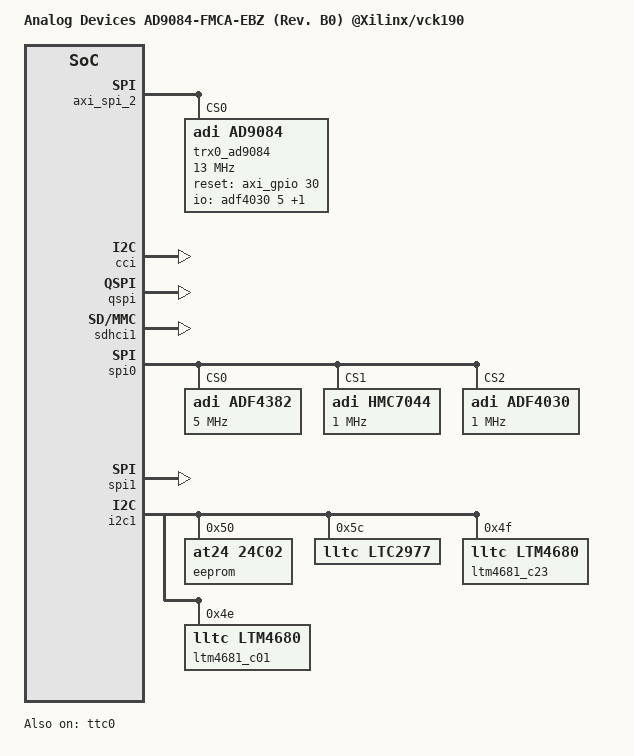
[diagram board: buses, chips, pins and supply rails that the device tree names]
/dts-v1/;
/* hdl: */

#include "versal-vck190-rev1.1.dts"
#include <dt-bindings/iio/adc/adi,ad9088.h>
#include <dt-bindings/interrupt-controller/irq.h>
#include <dt-bindings/jesd204/adxcvr.h>

#define fmc_spi spi0

#ifndef DEVICE_PROFILE_NAME
#define DEVICE_PROFILE_NAME	"id00_uc93.bin"
#endif

#define HSCI_SPEED 800

/* RX path */
#define AD9084_RX_LANERATE_KHZ	20625000
#define AD9084_RX_LINK_CLK	312500000

/* TX path */
#define AD9084_TX_LANERATE_KHZ	20625000
#define AD9084_TX_LINK_CLK	312500000

#ifndef SYSREF_CLK_MHz
#define SYSREF_CLK_MHz		(9765625)
#endif

/ {
	clocks {
		clkin_125: clock@0 {
			#clock-cells = <0>;
			compatible = "fixed-clock";
			clock-frequency = <125000000>;
			clock-output-names = "clkin_125";
		};
	};
};

&gic {
	num_cpus = <2>;
	num_interrupts = <96>;
};

&lpd_dma_chan0 {
	status = "okay";
};

&lpd_dma_chan1 {
	status = "okay";
};

&lpd_dma_chan2 {
	status = "okay";
};

&lpd_dma_chan3 {
	status = "okay";
};

&lpd_dma_chan4 {
	status = "okay";
};

&lpd_dma_chan5 {
	status = "okay";
};

&lpd_dma_chan6 {
	status = "okay";
};

&lpd_dma_chan7 {
	status = "okay";
};

&cci {
	status = "okay";
};

&smmu {
	status = "okay";
};

&gpio1 {
	status = "okay";
};

&qspi {
	is-dual = <1>;
	num-cs = <1>;
	spi-rx-bus-width = <4>;
	spi-tx-bus-width = <4>;
	status = "okay";
};

&sdhci1 {
	clock-frequency = <199999985>;
	status = "okay";
};

&serial0 {
	cts-override ;
	device_type = "serial";
	port-number = <0>;
};

&spi0 {
	is-decoded-cs = <0>;
	num-cs = <3>;
	status = "okay";
};

&spi1 {
	is-decoded-cs = <0>;
	num-cs = <3>;
	status = "okay";
};

&ttc0 {
	status = "okay";
};

&ref_clk {
	clock-frequency = <33333333>;
};

&gem0 {
	local-mac-address = [00 0a 35 ad 90 81];
};

&i2c1 {
	eeprom@50 {
		compatible = "at24,24c02";
		reg = <0x50>;
	};
	ltc2977@5c {
		compatible = "lltc,ltc2977";
		reg = <0x5C>;
	};
	ltm4681_c23@4f {
		compatible = "lltc,ltm4680";
		reg = <0x4F>;
	};
	ltm4681_c01@4e {
		compatible = "lltc,ltm4680";
		reg = <0x4E>;
	};
};

/ {
	model = "Analog Devices AD9084-FMCA-EBZ (Rev. B0) @Xilinx/vck190";

	chosen {
		bootargs = "console=ttyAMA0 earlycon=pl011,mmio32,0xFF000000,115200n8 clk_ignore_unused root=/dev/mmcblk0p2 rw rootfstype=ext4 rootwait";
		stdout-path = "serial0:115200";
	};

	fpga_axi: fpga-axi@0 {
		interrupt-parent = <&gic>;
		compatible = "simple-bus";
		#address-cells = <0x1>;
		#size-cells = <0x1>;
		ranges = <0 0 0 0xffffffff>;

		clocks {
			rx_fixed_linerate: clock@1 {
				#clock-cells = <0>;
				compatible = "fixed-clock";
				clock-frequency = <AD9084_RX_LANERATE_KHZ>;
				clock-output-names = "rx_lane_clk";
			};

			tx_fixed_linerate: clock@2 {
				#clock-cells = <0>;
				compatible = "fixed-clock";
				clock-frequency = <AD9084_TX_LANERATE_KHZ>;
				clock-output-names = "tx_lane_clk";
			};

			rx_fixed_link_clk: clock@3 {
				#clock-cells = <0>;
				compatible = "fixed-clock";
				clock-frequency = <AD9084_RX_LINK_CLK>;
				clock-output-names = "rx_link_clk";
			};

			tx_fixed_link_clk: clock@4 {
				#clock-cells = <0>;
				compatible = "fixed-clock";
				clock-frequency = <AD9084_TX_LINK_CLK>;
				clock-output-names = "tx_link_clk";
			};
		};

		axi_gpio: gpio@a4000000 {
			#gpio-cells = <2>;
			#interrupt-cells = <2>;
			clock-names = "s_axi_aclk";
			clocks = <&versal_clk PMC_PL0_REF>;
			compatible = "xlnx,axi-gpio-2.0", "xlnx,xps-gpio-1.00.a";
			gpio-controller;
			interrupt-controller;
			interrupt-names = "ip2intc_irpt";
			interrupt-parent = <&gic>;
			interrupts = <0 84 4>;
			reg = <0xa4000000 0x1000>;
			xlnx,all-inputs = <0x0>;
			xlnx,all-inputs-2 = <0x0>;
			xlnx,all-outputs = <0x0>;
			xlnx,all-outputs-2 = <0x0>;
			xlnx,dout-default = <0x00000000>;
			xlnx,dout-default-2 = <0x00000000>;
			xlnx,gpio-width = <0x20>;
			xlnx,gpio2-width = <0x20>;
			xlnx,interrupt-present = <0x1>;
			xlnx,is-dual = <0x1>;
			xlnx,tri-default = <0xFFFFFFFF>;
			xlnx,tri-default-2 = <0xFFFFFFFF>;
		};

		rx_dma: dma@bc420000 {
			compatible = "adi,axi-dmac-1.00.a";
			reg = <0xbc420000 0x10000>;
			#dma-cells = <1>;
			#clock-cells = <0>;
			interrupts = <0 97 IRQ_TYPE_LEVEL_HIGH>;
			clocks = <&versal_clk PMC_PL1_REF>;

			adi,channels {
				#size-cells = <0>;
				#address-cells = <1>;

				dma-channel@0 {
					reg = <0>;
					adi,source-bus-type = <2>;
					adi,destination-bus-type = <0>;
				};
			};
		};

		tx_dma: dma@bc430000  {
			compatible = "adi,axi-dmac-1.00.a";
			reg = <0xbc430000 0x10000>;
			#dma-cells = <1>;
			#clock-cells = <0>;
			interrupts = <0 96 IRQ_TYPE_LEVEL_HIGH>;
			clocks = <&versal_clk PMC_PL1_REF>;

			adi,channels {
				#size-cells = <0>;
				#address-cells = <1>;

				dma-channel@0 {
					reg = <0>;
					adi,source-bus-type = <0>;
					adi,destination-bus-type = <2>;
				};
			};
		};

		axi_data_offload_tx: axi-data-offload-0@bc440000 {
			compatible = "adi,axi-data-offload-1.0.a";
			reg = <0xbc440000 0x10000>;
		};

		axi_data_offload_rx: axi-data-offload-1@bc450000 {
			compatible = "adi,axi-data-offload-1.0.a";
			reg = <0xbc450000 0x10000>;
		};

		hsci_clkgen: axi-clkgen@a4ad0000  {
			compatible = "adi,axi-clkgen-2.00.a";
			reg = <0xa4ad0000 0x10000>;
			#clock-cells = <0>;
			clocks = <&versal_clk PMC_PL0_REF>, <&versal_clk PMC_PL0_REF>;
			clock-names = "s_axi_aclk", "clkin1";
			clock-output-names = "hsci_clkgen";
		};

		axi_hsci: axi_hsci@bc500000 {
			compatible = "adi,axi-hsci-1.0.a";
			reg = <0xbc500000 0x40000>;
			clocks = <&hsci_clkgen>;
			clock-names = "pclk";

			adi,hsci-interface-speed-mhz = <HSCI_SPEED>;
		};

		axi_ad9084_core_rx: axi-ad9084-rx-hpc@a4a10000 {
			compatible = "adi,axi-ad9081-rx-1.0";
			reg = <0xa4a10000 0x8000>;
			dmas = <&rx_dma 0>;
			dma-names = "rx";
			spibus-connected = <&trx0_ad9084>;

			jesd204-device;
			#jesd204-cells = <2>;
			jesd204-inputs = <&axi_ad9084_rx_jesd 0 FRAMER_LINK_A0_RX>;
		};

		axi_ad9084_core_tx: axi-ad9084-tx-hpc@a4b10000 {
			compatible = "adi,axi-ad9081-tx-1.0";
			reg = <0xa4b10000 0x4000>;
			dmas = <&tx_dma 0>;
			dma-names = "tx";
			clocks = <&trx0_ad9084 1>;
			clock-names = "sampl_clk";
			spibus-connected = <&trx0_ad9084>;
			adi,axi-pl-fifo-enable;
			adi,axi-data-offload-connected = <&axi_data_offload_tx>;

			jesd204-device;
			#jesd204-cells = <2>;
			jesd204-inputs = <&axi_ad9084_tx_jesd 0 DEFRAMER_LINK_A0_TX>;
		};

#ifdef AXI_AION_TRIG
		axi_aion_trig: axi_aion_trig@bc900000 {
			compatible = "adi,axi-aion-trig-1.0.a";
			reg = <0xbc900000 0x1000>;
			clocks = <&hmc7044 8>;
			clock-names = "device_clk";

			jesd204-device;
			#jesd204-cells = <2>;
			jesd204-inputs =
				<&hmc7044 0 FRAMER_LINK_B0_RX>,
				<&hmc7044 0 DEFRAMER_LINK_B0_TX>;

			io-channels = <&adf4030 8>;
			io-channel-names = "bsync";
		};
#endif

		axi_ad9084_rx_jesd: axi-jesd204-rx@a4a90000 {
			compatible = "adi,axi-jesd204-rx-1.0";
			reg = <0xa4a90000 0x1000>;

			interrupts = <0 95 IRQ_TYPE_LEVEL_HIGH>;

			clocks = <&versal_clk PMC_PL0_REF>, <&hmc7044 9>, <&rx_fixed_link_clk>, <&rx_fixed_linerate>;
			clock-names = "s_axi_aclk", "device_clk", "link_clk", "lane_clk";

			#clock-cells = <0>;
			clock-output-names = "jesd_rx_lane_clk";

			jesd204-device;
			#jesd204-cells = <2>;
#ifdef AXI_AION_TRIG
			jesd204-inputs = <&axi_aion_trig 0 FRAMER_LINK_A0_RX>;
#else
			jesd204-inputs = <&hmc7044 0 FRAMER_LINK_B0_RX>;
#endif

			reset-done-gpios = <&axi_gpio 32 0>;
			pll-datapath-reset-gpios = <&axi_gpio 36 0>;
			datapath-reset-gpios = <&axi_gpio 38 0>;
		};

		axi_ad9084_tx_jesd: axi-jesd204-tx@a4b90000 {
			compatible = "adi,axi-jesd204-tx-1.0";
			reg = <0xa4b90000 0x1000>;

			interrupts = <0 94 IRQ_TYPE_LEVEL_HIGH>;

			clocks = <&versal_clk PMC_PL0_REF>, <&hmc7044 8>, <&tx_fixed_link_clk>, <&tx_fixed_linerate>;
			clock-names = "s_axi_aclk", "device_clk", "link_clk", "lane_clk";

			#clock-cells = <0>;
			clock-output-names = "jesd_tx_lane_clk";

			jesd204-device;
			#jesd204-cells = <2>;
#ifdef AXI_AION_TRIG
			jesd204-inputs = <&axi_aion_trig 0 DEFRAMER_LINK_A0_TX>;
#else
			jesd204-inputs = <&hmc7044 0 DEFRAMER_LINK_B0_TX>;
#endif
			reset-done-gpios = <&axi_gpio 33 0>;
			pll-datapath-reset-gpios = <&axi_gpio 37 0>;
			datapath-reset-gpios = <&axi_gpio 39 0>;
		};

		axi_sysid_0: axi-sysid-0@a5000000 {
			compatible = "adi,axi-sysid-1.00.a";
			reg = <0xa5000000 0x10000>;
		};

		axi_spi_2: spi@a4a80000  {
			#address-cells = <1>;
			#size-cells = <0>;
			bits-per-word = <8>;
			compatible = "xlnx,axi-quad-spi-3.2", "xlnx,xps-spi-2.00.a";
			fifo-size = <16>;
			interrupt-names = "ip2intc_irpt";
			interrupt-parent = <&gic>;
			interrupts = <0 93 IRQ_TYPE_LEVEL_HIGH>;
			num-cs = <0x8>;
			reg = <0xa4a80000 0x1000>;
			xlnx,num-ss-bits = <0x8>;
			xlnx,spi-mode = <0>;
		};
	};
};


#include <dt-bindings/iio/frequency/hmc7044.h>
#include <dt-bindings/iio/adc/adi,ad9081.h>

&spi0 {
	status = "okay";

	adf4382: adf4382@0 {
		#clock-cells = <1>;
		compatible = "adi,adf4382";
		reg = <0>;
		spi-max-frequency = <5000000>;
		clocks = <&clkin_125>;
		clock-names = "ref_clk";
		clock-output-names = "adf4382_out_clk";
		adi,power-up-frequency = /bits/ 64 <20000000000>;
		label = "adf4382";
		#io-channel-cells = <1>;
	};

	hmc7044: hmc7044@1 {
		#address-cells = <1>;
		#size-cells = <0>;
		#clock-cells = <1>;
		compatible = "adi,hmc7044";
		reg = <1>;
		spi-max-frequency = <1000000>;

		jesd204-device;
		#jesd204-cells = <2>;

		clocks = <&clkin_125>;
		clock-names = "clkin0";

		jesd204-inputs =
			<&adf4030 0 FRAMER_LINK_A0_RX>,
			<&adf4030 0 DEFRAMER_LINK_A0_TX>;

		adi,pll1-clkin-frequencies = <125000000 125000000 125000000 125000000>;
		adi,vcxo-frequency = <125000000>;

		adi,pll1-loop-bandwidth-hz = <200>;

		adi,pll2-output-frequency = <2500000000>;

		adi,pll1-ref-prio-ctrl = <0xE1>; /* prefer CLKIN1 -> CLKIN0 -> CLKIN2 -> CLKIN3 */
		adi,pll1-ref-autorevert-enable;

		adi,sysref-timer-divider = <1024>;
		adi,pulse-generator-mode = <HMC7044_PULSE_GEN_CONT_PULSE>;

		adi,clkin0-buffer-mode  = <0x07>;
		adi,clkin1-buffer-mode  = <0x07>;
		adi,oscin-buffer-mode = <0x5>;

		adi,gpi-controls = <0x00 0x00 0x00 0x00>;
		adi,gpo-controls = <0x37 0x33 0x00 0x00>;

		clock-output-names =
				"hmc7044_out0", "hmc7044_out1", "hmc7044_out2",
				"hmc7044_out3", "hmc7044_out4", "hmc7044_out5",
				"hmc7044_out6", "hmc7044_out7", "hmc7044_out8",
				"hmc7044_out9", "hmc7044_out10", "hmc7044_out11",
				"hmc7044_out12", "hmc7044_out13";

		hmc7044_c1: channel@1 {
			reg = <1>;
			adi,extended-name = "ADF4030_REFIN";
			adi,divider = <20>;	// 125
			adi,driver-mode = <HMC7044_DRIVER_MODE_LVDS>;	// LVDS
		};

		hmc7044_c3: channel@3 {
			reg = <3>;
			adi,extended-name = "ADF4030_BSYNC0";
			adi,divider = <256>;	// 9.765
			adi,driver-mode = <HMC7044_DRIVER_MODE_LVPECL>;	// change to LVPECL
		};

		hmc7044_c8: channel@8 {
			reg = <8>;
			adi,extended-name = "CORE_CLK_TX";
			adi,divider = <8>;
			adi,driver-mode = <HMC7044_DRIVER_MODE_LVDS>;	// LVDS
		};

		hmc7044_c9: channel@9 {
			reg = <9>;
			adi,extended-name = "CORE_CLK_RX";
			adi,divider = <8>;
			adi,driver-mode = <HMC7044_DRIVER_MODE_LVDS>;	// LVDS
		};

		hmc7044_c10: channel@10 {
			reg = <10>;
			adi,extended-name = "FPGA_REFCLK";
			adi,divider = <8>;
			adi,driver-mode = <HMC7044_DRIVER_MODE_LVDS>;	// LVDS
		};

		hmc7044_c11: channel@11 {
			reg = <11>;
			adi,extended-name = "CORE_CLK_RX_B";
			adi,divider = <8>;
			adi,driver-mode = <HMC7044_DRIVER_MODE_LVDS>;	// LVDS
		};

		hmc7044_c12: channel@12 {
			reg = <12>;
			adi,extended-name = "CORE_CLK_TX_B";
			adi,divider = <8>;
			adi,driver-mode = <HMC7044_DRIVER_MODE_LVDS>;	// LVDS
		};
	};

	adf4030: adf4030@2 {
		#clock-cells = <1>;
		compatible = "adi,adf4030";
		reg = <2>;

		#address-cells = <1>;
		#size-cells = <0>;
		#io-channel-cells = <1>;

		spi-max-frequency = <1000000>;
		clocks = <&hmc7044 1>;
		clock-names = "refin";
		clock-output-names = "adf4030_bsync_0", "adf4030_bsync_1",
			"adf4030_bsync_2", "adf4030_bsync_3", "adf4030_bsync_4",
			"adf4030_bsync_5", "adf4030_bsync_6", "adf4030_bsync_7",
			"adf4030_bsync_8", "adf4030_bsync_9";
		label = "adf4030";

		jesd204-device;
		#jesd204-cells = <2>;

		/* The actual is axi_aion, but that does not contain a callback jesd204_cb,
		   so use this node as the beginning of the chain */
		jesd204-sysref-provider;
		adi,jesd204-max-sysref-frequency-hz = <2000000>;

		adi,vco-frequency-hz = <2500000000>; /* 2.5 GHz */
		adi,bsync-frequency-hz = <SYSREF_CLK_MHz>;
		adi,bsync-autoalign-reference-channel = <0>; /* LTC6952_OUT_6 */
		adi,bsync-autoalign-iteration-count = <6>;
		adi,bsync-secondary-frequency-hz = <12500000>; /* 12.5 MHz */

		channel@0 {
			/* hmc output */
			reg = <0>;
			adi,extended-name = "ADF4030_SCLKOUT3";
			auto-align-on-sync-en;
			adi,rcm = <1>;
			adi,link-rx-en;
			adi,float-rx-en;
		};
		channel@1 {
			/* Output debug loopback */
			reg = <1>;
			adi,extended-name = "BSYNC1_DEBUG";
			auto-align-on-sync-en;
			adi,input-output-reconfig-en;
			adi,rcm = <62>; // LVDS
			adi,link-rx-en;
			adi,float-rx-en;
			adi,output-en;
		};
		channel@2 {
			/* Input debug loopback */
			reg = <2>;
			adi,extended-name = "BSYNC2_DEBUG";
			auto-align-on-sync-en;
			adi,input-output-reconfig-en;
			adi,rcm = <62>;
			adi,link-rx-en;
			adi,float-rx-en;
		};
		channel@3 {
			reg = <3>;
			adi,extended-name = "BOGUS3";
		};
		channel@4 {
			reg = <4>;
			adi,extended-name = "BOGUS4";
		};
		channel@5 {
			/* apollo input */
			reg = <5>;
			adi,extended-name = "APOLLO_SYSREF";
			auto-align-on-sync-en;
			adi,output-en;
			adi,input-output-reconfig-en;
			adi,rcm = <1>;
			adi,link-rx-en;
			adi,float-rx-en;
		};
		channel@6 {
			reg = <6>;
			adi,extended-name = "BOGUS6";
		};
		channel@7 {
			reg = <7>;
			adi,extended-name = "BOGUS7";
		};
		channel@8 {
			/* fpga sysref_in_p/n input */
			reg = <8>;
			adi,extended-name = "SYSREF_IN_F";
			auto-align-on-sync-en;
			adi,output-en;
			adi,link-rx-en;
			adi,float-rx-en;
			adi,input-output-reconfig-en;
		};
		channel@9 {
			/* Unused, connects to nothing */
			reg = <9>;
			adi,extended-name = "SYSREF_OUT_FMC";
			adi,output-en;
			auto-align-on-sync-en;
			adi,input-output-reconfig-en;
			adi,rcm = <62>;
		};
	};
};

&axi_spi_2 {
	trx0_ad9084: ad9084@0 {
		#address-cells = <1>;
		#size-cells = <0>;
		compatible = "adi,ad9084";
		reg = <0>;
		spi-max-frequency = <13000000>;

		/* Clocks */
		clocks = <&adf4382 0>;
		clock-names = "dev_clk";
		dev_clk-clock-scales = <1 10>;

		clock-output-names = "rx_sampl_clk", "tx_sampl_clk";
		#clock-cells = <1>;

		adi,axi-hsci-connected = <&axi_hsci>;

		adi,hsci-auto-linkup-mode-en;

		jesd204-device;
		#jesd204-cells = <2>;
		jesd204-top-device = <0>; /* This is the TOP device */
		jesd204-ignore-errors;
		jesd204-link-ids = <DEFRAMER_LINK_A0_TX DEFRAMER_LINK_B0_TX FRAMER_LINK_A0_RX FRAMER_LINK_B0_RX>;

		jesd204-inputs =
			<&axi_ad9084_core_rx 0 FRAMER_LINK_A0_RX>,
			<&axi_ad9084_core_tx 0 DEFRAMER_LINK_A0_TX>;
		reset-gpios = <&axi_gpio 30 0>;

		io-channels = <&adf4030 5>, <&adf4382 0>;
		io-channel-names = "bsync", "clk";

		adi,device-profile-fw-name = DEVICE_PROFILE_NAME;

		adi,jrx0-physical-lane-mapping = <5 1 3 7 11 11 11 11 11 11 11 11>;
		adi,jtx0-logical-lane-mapping = <11 11 11 1 11 11 11 11  2  3  11 0>;

		adi,jrx1-physical-lane-mapping = <1  7 10  3  5  8  9 11 11 11 11 11>;
		adi,jtx1-logical-lane-mapping = <11 5  1  0 11  2 11  3  4  7  11 6>;

		adi,invalid-en;
	};
};
